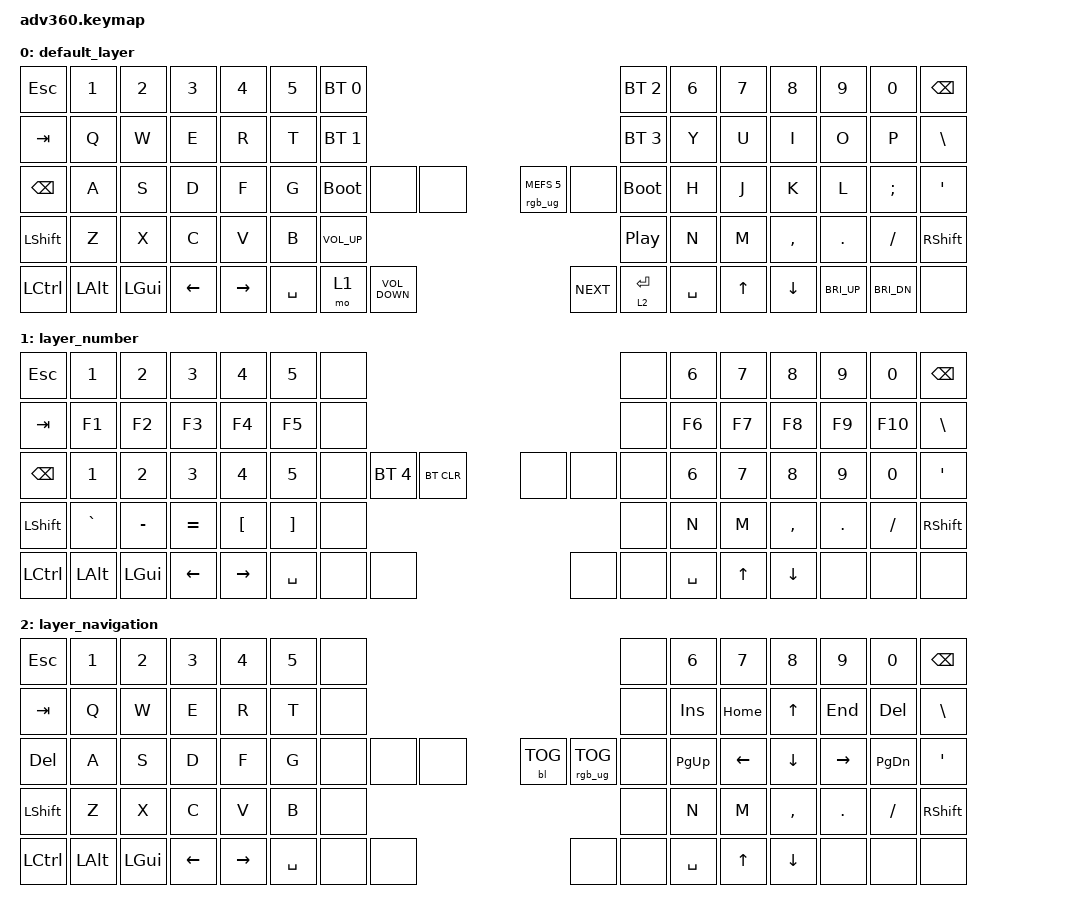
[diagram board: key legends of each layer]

/*
 * Copyright (c) 2020 The ZMK Contributors
 *
 * SPDX-License-Identifier: MIT
 */


/* THIS FILE WAS GENERATED!
 *
 * This file was generated automatically. You may or may not want to
 * edit it directly.
 */

#include <behaviors.dtsi>
#include <dt-bindings/zmk/keys.h>
#include <dt-bindings/zmk/bt.h>
#include <dt-bindings/zmk/rgb.h>
#include <dt-bindings/zmk/backlight.h>

/ {
  behaviors {
    #include "macros.dtsi"
    #include "version.dtsi"

    hm: homerow_mods {
        compatible = "zmk,behavior-hold-tap";
        label = "HOMEROW_MODS";
        #binding-cells = <2>;
        tapping-term-ms = <200>;
        quick_tap_ms = <175>;
        flavor = "tap-preferred";
        bindings = <&kp>, <&kp>;
    };
  };

    keymap {
        compatible = "zmk,keymap";


        default_layer {
            bindings = <
          &kp ESC        &kp N1        &kp N2          &kp N3           &kp N4  &kp N5            &bt BT_SEL 0                                                                                  &bt BT_SEL 2  &kp N6        &kp N7          &kp N8        &kp N9        &kp N0  &kp BACKSPACE
          &kp TAB         &kp Q         &kp W           &kp E            &kp R   &kp T            &bt BT_SEL 1                                                                                  &bt BT_SEL 3   &kp Y         &kp U           &kp I         &kp O         &kp P       &kp BSLH
    &kp BACKSPACE         &kp A         &kp S           &kp D            &kp F   &kp G             &bootloader   &none              &none                  &rgb_ug RGB_MEFS_CMD 5        &none   &bootloader   &kp H         &kp J           &kp K         &kp L      &kp SEMI        &kp SQT
        &kp LSHFT         &kp Z         &kp X           &kp C            &kp V   &kp B                                    &kp C_VOLUME_UP                        &kp C_PLAY_PAUSE                              &kp N         &kp M       &kp COMMA       &kp DOT      &kp FSLH      &kp RSHFT
 &kp LEFT_CONTROL  &kp LEFT_ALT  &kp LEFT_GUI  &kp LEFT_ARROW  &kp RIGHT_ARROW                       &kp SPACE   &mo 1  &kp C_VOLUME_DOWN                              &kp C_NEXT  &lt 2 ENTER     &kp SPACE          &kp UP_ARROW  &kp DOWN_ARROW  &kp C_BRI_UP  &kp C_BRI_DN          &none
            >;
        };

        layer_number {
            bindings = <
          &kp ESC        &kp N1        &kp N2          &kp N3            &kp N4             &kp N5                &none                                                                &none  &kp N6        &kp N7          &kp N8   &kp N9     &kp N0  &kp BACKSPACE
          &kp TAB        &kp F1        &kp F2          &kp F3            &kp F4             &kp F5                &none                                                                &none  &kp F6        &kp F7          &kp F8   &kp F9    &kp F10       &kp BSLH
    &kp BACKSPACE        &kp N1        &kp N2          &kp N3            &kp N4             &kp N5                &none  &bt BT_SEL 4  &bt BT_CLR                   &none   &none      &none  &kp N6        &kp N7          &kp N8   &kp N9     &kp N0        &kp SQT
        &kp LSHFT     &kp GRAVE     &kp MINUS       &kp EQUAL  &kp LEFT_BRACKET  &kp RIGHT_BRACKET                                          &none                   &none                      &kp N         &kp M       &kp COMMA  &kp DOT  &kp SLASH      &kp RSHFT
 &kp LEFT_CONTROL  &kp LEFT_ALT  &kp LEFT_GUI  &kp LEFT_ARROW   &kp RIGHT_ARROW                               &kp SPACE         &none       &none                   &none   &none  &kp SPACE          &kp UP_ARROW  &kp DOWN_ARROW    &none      &none          &none
            >;
        };

        layer_navigation {
            bindings = <
          &kp ESC        &kp N1        &kp N2          &kp N3           &kp N4  &kp N5                &none                                                                   &none       &kp N6          &kp N7          &kp N8           &kp N9         &kp N0     &kp BACKSPACE
          &kp TAB         &kp Q         &kp W           &kp E            &kp R   &kp T                &none                                                                   &none   &kp INSERT        &kp HOME    &kp UP_ARROW          &kp END     &kp DELETE     &kp BACKSLASH
          &kp DEL         &kp A         &kp S           &kp D            &kp F   &kp G                &none   &none   &none                  &bl BL_TOG  &rgb_ug RGB_TOG      &none  &kp PAGE_UP  &kp LEFT_ARROW  &kp DOWN_ARROW  &kp RIGHT_ARROW  &kp PAGE_DOWN  &kp SINGLE_QUOTE
   &kp LEFT_SHIFT         &kp Z         &kp X           &kp C            &kp V   &kp B                                &none                       &none                                    &kp N           &kp M       &kp COMMA          &kp DOT      &kp SLASH   &kp RIGHT_SHIFT
 &kp LEFT_CONTROL  &kp LEFT_ALT  &kp LEFT_GUI  &kp LEFT_ARROW  &kp RIGHT_ARROW                    &kp SPACE   &none   &none                       &none            &none  &kp SPACE                 &kp UP_ARROW  &kp DOWN_ARROW            &none          &none             &none
            >;
        };

    };
};
